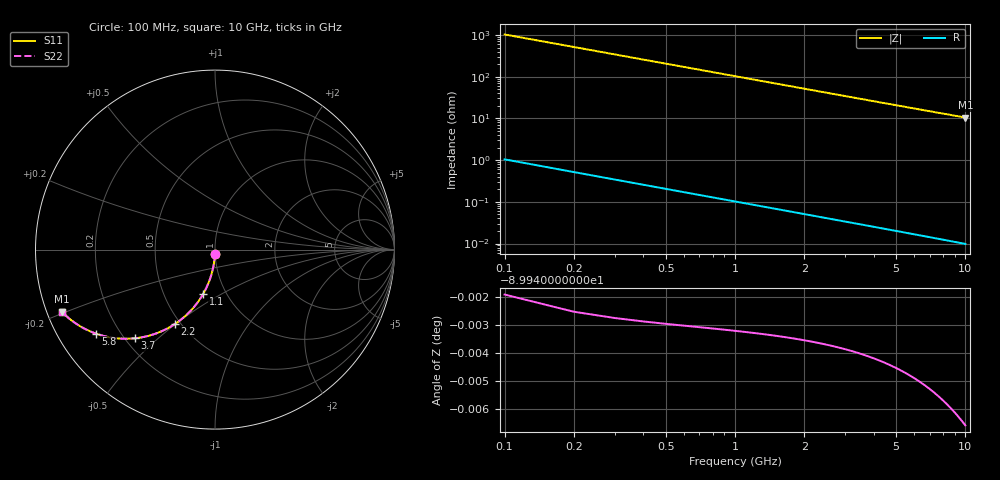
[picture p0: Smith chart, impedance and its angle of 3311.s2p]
# Hz S RI R 50.00
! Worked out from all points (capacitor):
!   100 points, 100 MHz to 10 GHz, reference 50 ohm
!   read as one part in shunt: C = 1.55 pF near 100 MHz
!   lowest |Z| = 10.5 ohm at 10 GHz (marker M1)
!   S11 on the Smith chart (normalised r, x): 100 MHz: 1.00, -0.05; 1.1 GHz: 0.78, -0.41; 2.2 GHz: 0.47, -0.50; 3.7 GHz: 0.24, -0.42; 5.8 GHz: 0.11, -0.31; 10 GHz: 0.04, -0.19
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1e8  -0.000589 -0.0242  0.9994 -0.0244  0.9994 -0.0244  -0.000589 -0.0242
2e8  -0.00238 -0.0484  0.9976 -0.0487  0.9976 -0.0487  -0.00238 -0.0484
3e8  -0.00534 -0.0724  0.9946 -0.0728  0.9946 -0.0728  -0.00534 -0.0724
4e8  -0.00944 -0.0961  0.9905 -0.0966  0.9905 -0.0966  -0.00944 -0.0961
5e8  -0.0147 -0.1195  0.9853 -0.1201  0.9853 -0.1201  -0.0147 -0.1195
6e8  -0.021 -0.1424  0.979 -0.1432  0.979 -0.1432  -0.021 -0.1424
7e8  -0.0283 -0.1649  0.9717 -0.1658  0.9717 -0.1658  -0.0283 -0.1649
9e8  -0.0459 -0.2081  0.9541 -0.2094  0.9541 -0.2094  -0.0459 -0.2081
1.1e9  -0.0669 -0.2487  0.933 -0.2502  0.933 -0.2502  -0.0669 -0.2487
1.4e9  -0.104 -0.3039  0.8959 -0.3058  0.8959 -0.3058  -0.104 -0.3039
1.8e9  -0.1609 -0.3657  0.8391 -0.3682  0.8391 -0.3682  -0.1609 -0.3657
2.2e9  -0.2225 -0.414  0.7775 -0.4169  0.7775 -0.4169  -0.2225 -0.414
2.8e9  -0.3165 -0.4627  0.6835 -0.4665  0.6835 -0.4665  -0.3165 -0.4627
3.4e9  -0.4055 -0.4882  0.5945 -0.4928  0.5945 -0.4928  -0.4055 -0.4882
3.7e9  -0.4467 -0.4941  0.5533 -0.4992  0.5533 -0.4992  -0.4467 -0.4941
4.4e9  -0.5328 -0.4954  0.4671 -0.5014  0.4671 -0.5014  -0.5328 -0.4954
5.1e9  -0.6049 -0.4849  0.395 -0.4918  0.395 -0.4918  -0.6049 -0.4849
5.8e9  -0.6642 -0.4678  0.3357 -0.4757  0.3357 -0.4757  -0.6642 -0.4678
6.7e9  -0.7251 -0.4413  0.2748 -0.4505  0.2748 -0.4505  -0.7251 -0.4413
7.5e9  -0.7676 -0.4167  0.2323 -0.427  0.2323 -0.427  -0.7676 -0.4167
8.4e9  -0.8055 -0.3894  0.1943 -0.401  0.1943 -0.401  -0.8055 -0.3894
1e10  -0.8544 -0.3452  0.1454 -0.359  0.1454 -0.359  -0.8544 -0.3452
